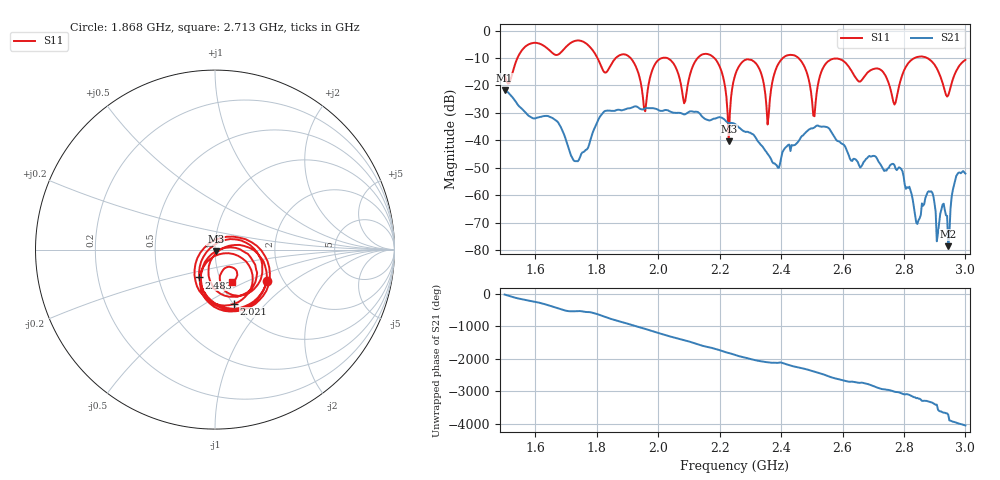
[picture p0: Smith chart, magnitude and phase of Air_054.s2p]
# HZ S RI R 50
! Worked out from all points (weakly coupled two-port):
!   404 points, 1.5 GHz to 3 GHz, reference 50 ohm
!   highest |S21| = -21.84 dB at 1.5 GHz (marker M1); lowest = -78.6 dB at 2.944 GHz (marker M2)
!   lowest |S11| = -40.3 dB at 2.23 GHz (marker M3), VSWR 1.02, Z = 50.4 - j0.867 ohm
!   |S11| at or under -10 dB: 2.182 GHz to 2.406 GHz (223.6 MHz wide, 9.75 % of centre); 2.456 GHz to 2.835 GHz (378.4 MHz wide, 14.3 % of centre); 2.875 GHz to end of sweep (the widest 3 of 7)
!   S12 and S22 are empty: the file has one direction only
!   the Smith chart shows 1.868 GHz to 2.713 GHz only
!   S11 on the Smith chart (normalised r, x): 1.868 GHz: 1.65, -0.65; 2.021 GHz: 1.00, -0.68; 2.483 GHz: 0.80, -0.26; 2.713 GHz: 1.12, -0.42
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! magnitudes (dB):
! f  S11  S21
! 1.5 GHz  -16.3  -21.8
! 1.753 GHz  -3.9  -44.4
! 1.868 GHz  -9.4  -28.9
! 1.958 GHz  -29.4  -28.4
! 2.002 GHz  -10.6  -29.1
! 2.021 GHz  -9.9  -29.0
! 2.084 GHz  -26.5  -30.6
! 2.177 GHz  -9.5  -32.2
! 2.23 GHz  -40.3  -33.7
! 2.252 GHz  -15.8  -34.2
! 2.315 GHz  -11.6  -38.7
! 2.356 GHz  -34.2  -44.9
! 2.386 GHz  -13.3  -49.1
! 2.483 GHz  -15.0  -36.9
! 2.501 GHz  -26.1  -35.7
! 2.561 GHz  -10.7  -36.4
! 2.713 GHz  -13.8  -46.9
! 2.751 GHz  -19.3  -50.1
! 2.862 GHz  -9.5  -63.8
! 2.944 GHz  -23.6  -78.6
! 2.97 GHz  -14.7  -53.0
! 3 GHz  -10.7  -52.1
